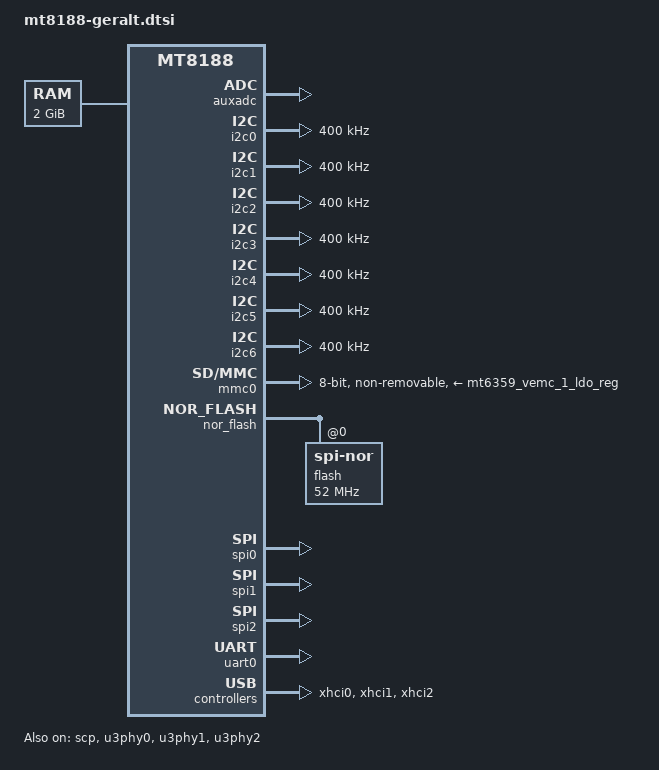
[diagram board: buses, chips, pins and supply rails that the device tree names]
// SPDX-License-Identifier: (GPL-2.0 OR MIT)
/*
 * Copyright (C) 2022 MediaTek Inc.
 */
/dts-v1/;
#include "mt8188.dtsi"
#include "mt6359.dtsi"

/ {
	aliases {
		serial0 = &uart0;
		i2c0 = &i2c0;
		i2c1 = &i2c1;
		i2c2 = &i2c2;
		i2c3 = &i2c3;
		i2c4 = &i2c4;
		i2c5 = &i2c5;
		i2c6 = &i2c6;
		mmc0 = &mmc0;
	};

	/* chosen */
	chosen: chosen {
		stdout-path = "serial0:115200n8";
		kaslr-seed = <0 0>;
	};

	memory {
		device_type = "memory";
		reg = <0 0x40000000 0 0x80000000>;
	};

	reserved_memory: reserved-memory {
		#address-cells = <2>;
		#size-cells = <2>;
		ranges;

		scp_mem_reserved: scp_mem_region {
			compatible = "shared-dma-pool";
			reg = <0 0x50000000 0 0x2900000>;
			no-map;
		};
	};
};

&auxadc {
	status = "okay";
};

&cam_vcore {
	domain-supply = <&mt6359_vproc1_buck_reg>;
};

&i2c0 {
	pinctrl-names = "default";
	pinctrl-0 = <&i2c0_pin>;
	clock-frequency = <400000>;
	status = "okay";
};

&i2c1 {
	pinctrl-names = "default";
	pinctrl-0 = <&i2c1_pin>;
	clock-frequency = <400000>;
	status = "okay";
};

&i2c2 {
	pinctrl-names = "default";
	pinctrl-0 = <&i2c2_pin>;
	clock-frequency = <400000>;
	status = "okay";
};

&i2c3 {
	pinctrl-names = "default";
	pinctrl-0 = <&i2c3_pin>;
	clock-frequency = <400000>;
	status = "okay";
};

&i2c4 {
	pinctrl-names = "default";
	pinctrl-0 = <&i2c4_pin>;
	clock-frequency = <400000>;
	status = "okay";
};

&i2c5 {
	pinctrl-names = "default";
	pinctrl-0 = <&i2c5_pin>;
	clock-frequency = <400000>;
	status = "okay";
};

&i2c6 {
	pinctrl-names = "default";
	pinctrl-0 = <&i2c6_pin>;
	clock-frequency = <400000>;
	status = "okay";
};

&img_vcore {
	domain-supply = <&mt6359_vproc1_buck_reg>;
};

&mmc0 {
	status = "okay";
	pinctrl-names = "default", "state_uhs";
	pinctrl-0 = <&mmc0_pins_default>;
	pinctrl-1 = <&mmc0_pins_uhs>;
	bus-width = <8>;
	max-frequency = <200000000>;
	cap-mmc-highspeed;
	mmc-hs200-1_8v;
	mmc-hs400-1_8v;
	supports-cqe;
	cap-mmc-hw-reset;
	no-sdio;
	no-sd;
	hs400-ds-delay = <0x1481b>;
	vmmc-supply = <&mt6359_vemc_1_ldo_reg>;
	vqmmc-supply = <&mt6359_vufs_ldo_reg>;
	non-removable;
};

&mt6359_vbbck_ldo_reg {
	regulator-always-on;
};

&mt6359_vcn33_2_bt_ldo_reg {
	regulator-always-on;
};

&mt6359_vcore_buck_reg {
	regulator-always-on;
};

&mt6359_vgpu11_buck_reg {
	regulator-always-on;
};

&mt6359_vpu_buck_reg {
	regulator-always-on;
};

&mt6359_vrf12_ldo_reg {
	regulator-always-on;
};

&mt6359_vufs_ldo_reg {
	regulator-always-on;
};

&nor_flash {
	status = "okay";
	pinctrl-names = "default";
	pinctrl-0 = <&nor_pins_default>;

	flash@0 {
		compatible = "jedec,spi-nor";
		reg = <0>;
		spi-max-frequency = <52000000>;
	};
};

&pio {
	pinctrl-names = "default";

	adsp_uart_pin: adsp_uart_pin {
		adsp_uart_pins {
			pinmux = <PINMUX_GPIO35__FUNC_O_ADSP_UTXD0>,
				 <PINMUX_GPIO36__FUNC_I1_ADSP_URXD0>;
		};
	};

	i2c0_pin: i2c0_pin {
		pins_bus {
			pinmux = <PINMUX_GPIO56__FUNC_B1_SDA0>,
				 <PINMUX_GPIO55__FUNC_B1_SCL0>;
			bias-pull-up = <MTK_PULL_SET_RSEL_011>;
		};
	};

	i2c1_pin: i2c1_pin {
		pins_bus {
			pinmux = <PINMUX_GPIO58__FUNC_B1_SDA1>,
				 <PINMUX_GPIO57__FUNC_B1_SCL1>;
			bias-pull-up = <MTK_PULL_SET_RSEL_011>;
		};
	};

	i2c2_pin: i2c2_pin {
		pins_bus {
			pinmux = <PINMUX_GPIO60__FUNC_B1_SDA2>,
				 <PINMUX_GPIO59__FUNC_B1_SCL2>;
			bias-pull-up = <MTK_PULL_SET_RSEL_011>;
		};
	};

	i2c3_pin: i2c3_pin {
		pins_bus {
			pinmux = <PINMUX_GPIO62__FUNC_B1_SDA3>,
				 <PINMUX_GPIO61__FUNC_B1_SCL3>;
			bias-pull-up = <MTK_PULL_SET_RSEL_011>;
		};
	};

	i2c4_pin: i2c4_pin {
		pins_bus {
			pinmux = <PINMUX_GPIO64__FUNC_B1_SDA4>,
				 <PINMUX_GPIO63__FUNC_B1_SCL4>;
			bias-pull-up = <MTK_PULL_SET_RSEL_011>;
		};
	};

	i2c5_pin: i2c5_pin {
		pins_bus {
			pinmux = <PINMUX_GPIO66__FUNC_B1_SDA5>,
				 <PINMUX_GPIO65__FUNC_B1_SCL5>;
			bias-pull-up = <MTK_PULL_SET_RSEL_011>;
		};
	};

	i2c6_pin: i2c6_pin {
		pins_bus {
			pinmux = <PINMUX_GPIO68__FUNC_B1_SDA6>,
				 <PINMUX_GPIO67__FUNC_B1_SCL6>;
			bias-pull-up = <MTK_PULL_SET_RSEL_011>;
		};
	};

	mmc0_pins_default: mmc0default {
		pins_cmd_dat {
			pinmux = <PINMUX_GPIO161__FUNC_B1_MSDC0_DAT0>,
				 <PINMUX_GPIO160__FUNC_B1_MSDC0_DAT1>,
				 <PINMUX_GPIO159__FUNC_B1_MSDC0_DAT2>,
				 <PINMUX_GPIO158__FUNC_B1_MSDC0_DAT3>,
				 <PINMUX_GPIO154__FUNC_B1_MSDC0_DAT4>,
				 <PINMUX_GPIO153__FUNC_B1_MSDC0_DAT5>,
				 <PINMUX_GPIO152__FUNC_B1_MSDC0_DAT6>,
				 <PINMUX_GPIO151__FUNC_B1_MSDC0_DAT7>,
				 <PINMUX_GPIO156__FUNC_B1_MSDC0_CMD>;
			input-enable;
			drive-strength = <MTK_DRIVE_6mA>;
			bias-pull-up = <MTK_PUPD_SET_R1R0_01>;
		};

		pins_clk {
			pinmux = <PINMUX_GPIO157__FUNC_B1_MSDC0_CLK>;
			drive-strength = <MTK_DRIVE_6mA>;
			bias-pull-down = <MTK_PUPD_SET_R1R0_10>;
		};

		pins_rst {
			pinmux = <PINMUX_GPIO155__FUNC_O_MSDC0_RSTB>;
			drive-strength = <MTK_DRIVE_6mA>;
			bias-pull-up = <MTK_PUPD_SET_R1R0_01>;
		};
	};

	mmc0_pins_uhs: mmc0uhs {
		pins_cmd_dat {
			pinmux = <PINMUX_GPIO161__FUNC_B1_MSDC0_DAT0>,
				 <PINMUX_GPIO160__FUNC_B1_MSDC0_DAT1>,
				 <PINMUX_GPIO159__FUNC_B1_MSDC0_DAT2>,
				 <PINMUX_GPIO158__FUNC_B1_MSDC0_DAT3>,
				 <PINMUX_GPIO154__FUNC_B1_MSDC0_DAT4>,
				 <PINMUX_GPIO153__FUNC_B1_MSDC0_DAT5>,
				 <PINMUX_GPIO152__FUNC_B1_MSDC0_DAT6>,
				 <PINMUX_GPIO151__FUNC_B1_MSDC0_DAT7>,
				 <PINMUX_GPIO156__FUNC_B1_MSDC0_CMD>;
			input-enable;
			drive-strength = <MTK_DRIVE_8mA>;
			bias-pull-up = <MTK_PUPD_SET_R1R0_01>;
		};

		pins_clk {
			pinmux = <PINMUX_GPIO157__FUNC_B1_MSDC0_CLK>;
			drive-strength = <MTK_DRIVE_8mA>;
			bias-pull-down = <MTK_PUPD_SET_R1R0_10>;
		};

		pins_ds {
			pinmux = <PINMUX_GPIO162__FUNC_B0_MSDC0_DSL>;
			drive-strength = <MTK_DRIVE_8mA>;
			bias-pull-down = <MTK_PUPD_SET_R1R0_10>;
		};

		pins_rst {
			pinmux = <PINMUX_GPIO155__FUNC_O_MSDC0_RSTB>;
			drive-strength = <MTK_DRIVE_8mA>;
			bias-pull-up = <MTK_PUPD_SET_R1R0_01>;
		};
	};

	nor_pins_default: nor-pins {
		pins0 {
			pinmux = <PINMUX_GPIO127__FUNC_B0_SPINOR_IO0>,
				 <PINMUX_GPIO125__FUNC_O_SPINOR_CK>,
				 <PINMUX_GPIO128__FUNC_B0_SPINOR_IO1>;
			bias-pull-down;
		};

		pins1 {
			pinmux = <PINMUX_GPIO126__FUNC_O_SPINOR_CS>,
				 <PINMUX_GPIO129__FUNC_B0_SPINOR_IO2>,
				 <PINMUX_GPIO130__FUNC_B0_SPINOR_IO3>;
			bias-pull-up;
		};
	};

	spi0_pins: spi0_pins {
		pins_spi {
			pinmux = <PINMUX_GPIO69__FUNC_O_SPIM0_CSB>,
				 <PINMUX_GPIO70__FUNC_O_SPIM0_CLK>,
				 <PINMUX_GPIO71__FUNC_B0_SPIM0_MOSI>,
				 <PINMUX_GPIO72__FUNC_B0_SPIM0_MISO>;
			bias-disable;
		};
	};

	spi1_pins: spi1_pins {
		pins_spi {
			pinmux = <PINMUX_GPIO75__FUNC_O_SPIM1_CSB>,
				 <PINMUX_GPIO76__FUNC_O_SPIM1_CLK>,
				 <PINMUX_GPIO77__FUNC_B0_SPIM1_MOSI>,
				 <PINMUX_GPIO78__FUNC_B0_SPIM1_MISO>;
			bias-disable;
		};
	};

	spi2_pins: spi2_pins {
		pins_spi {
			pinmux = <PINMUX_GPIO79__FUNC_O_SPIM2_CSB>,
				 <PINMUX_GPIO80__FUNC_O_SPIM2_CLK>,
				 <PINMUX_GPIO81__FUNC_B0_SPIM2_MOSI>,
				 <PINMUX_GPIO82__FUNC_B0_SPIM2_MISO>;
			bias-disable;
		};
	};

	uart0_pin: uart0_pin {
		uart0_pins {
			pinmux = <PINMUX_GPIO31__FUNC_O_UTXD0>,
				 <PINMUX_GPIO32__FUNC_I1_URXD0>;
			bias-pull-up;
		};
	};
};

&pmic {
	interrupt-parent = <&pio>;
	interrupts = <222 IRQ_TYPE_LEVEL_HIGH>;
};

&scp {
	memory-region = <&scp_mem_reserved>;
	status = "okay";
};

&spi0 {
	pinctrl-names = "default";
	pinctrl-0 = <&spi0_pins>;
	status = "okay";
};

&spi1 {
	pinctrl-names = "default";
	pinctrl-0 = <&spi1_pins>;
	status = "okay";
};

&spi2 {
	pinctrl-names = "default";
	pinctrl-0 = <&spi2_pins>;
	status = "okay";
};

&u3phy0 {
	status="okay";
};

&u3phy1 {
	status="okay";
};

&u3phy2 {
	status="okay";
};

&uart0 {
	pinctrl-names = "default";
	pinctrl-0 = <&uart0_pin>;
	status = "okay";
};

&xhci0 {
	status = "okay";
};

&xhci1 {
	status = "okay";
};

&xhci2 {
	status = "okay";
};
